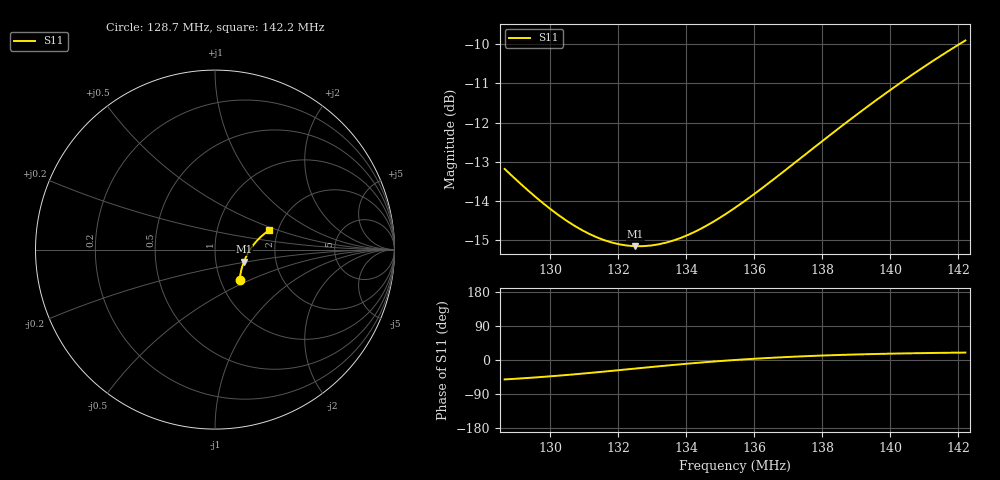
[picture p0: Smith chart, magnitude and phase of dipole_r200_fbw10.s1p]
! Free-space dipole, 1.0 m, 20.0 mm radius
! resonance 135.44 MHz, antenna Q 2.9, fractional bandwidth 10%
! generated with NEC via necpp
# MHZ S MA R 50
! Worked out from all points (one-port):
!   61 points, 128.7 MHz to 142.2 MHz, reference 50 ohm
!   lowest |S11| = -15.2 dB at 132.5 MHz (marker M1), VSWR 1.42, Z = 68.5 - j9.5 ohm
!   |S11| at or under -10 dB: start of sweep to 142 MHz
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128.6662  0.2192 -51.3
129.1177  0.2102 -48.8
129.5692  0.202 -46.0
130.0206  0.1948 -43.0
130.4721  0.1885 -39.7
130.9235  0.1834 -36.1
131.375  0.1794 -32.4
131.8265  0.1766 -28.6
132.0522  0.1757 -26.6
132.2779  0.1751 -24.6
132.5037  0.1748 -22.6
132.7294  0.1748 -20.7
132.9551  0.1751 -18.7
133.1808  0.1757 -16.8
133.4066  0.1766 -14.9
133.858  0.1792 -11.2
134.0838  0.1808 -9.4
134.5352  0.1849 -6.0
134.9867  0.1899 -2.9
135.4382  0.1956 -0.0
136.1153  0.2054 3.8
137.244  0.2241 9.0
138.1469  0.2405 12.2
139.0498  0.2577 14.7
139.9528  0.2753 16.6
140.6299  0.2887 17.7
141.3071  0.302 18.6
142.2101  0.3196 19.6
